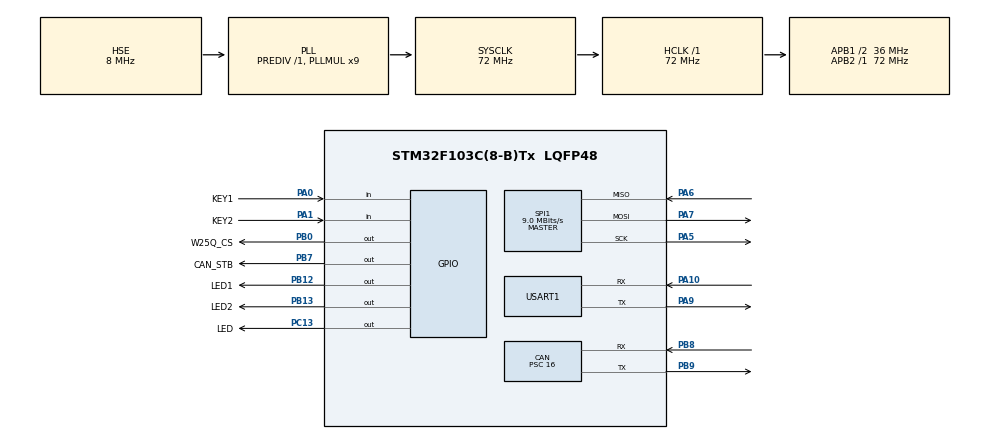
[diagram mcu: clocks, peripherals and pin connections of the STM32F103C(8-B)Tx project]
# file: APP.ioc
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CAN.ABOM=ENABLE
CAN.BS1=CAN_BS1_15TQ
CAN.BS2=CAN_BS2_2TQ
CAN.CalculateBaudRate=125000
CAN.CalculateTimeBit=8000
CAN.CalculateTimeQuantum=444.44444444444446
CAN.Mode=CAN_MODE_NORMAL
CAN.NART=ENABLE
CAN.Prescaler=16
CAN.RFLM=ENABLE
Dma.Request0=USART1_RX
Dma.USART1_RX.0.Direction=DMA_PERIPH_TO_MEMORY
Dma.USART1_RX.0.Instance=DMA1_Channel5
Dma.USART1_RX.0.MemDataAlignment=DMA_MDATAALIGN_BYTE
Dma.USART1_RX.0.MemInc=DMA_MINC_ENABLE
Dma.USART1_RX.0.Mode=DMA_CIRCULAR
Dma.USART1_RX.0.PeriphDataAlignment=DMA_PDATAALIGN_BYTE
Dma.USART1_RX.0.PeriphInc=DMA_PINC_DISABLE
Dma.USART1_RX.0.Priority=DMA_PRIORITY_LOW
Mcu.Family=STM32F1
Mcu.Name=STM32F103C(8-B)Tx
Mcu.Package=LQFP48
NVIC.CAN1_SCE_IRQn=true\:0\:0\:false\:false\:true\:true\:true\:true
NVIC.DMA1_Channel5_IRQn=true\:0\:0\:false\:false\:true\:false\:true\:true
NVIC.PriorityGroup=NVIC_PRIORITYGROUP_4
NVIC.USART1_IRQn=true\:0\:0\:false\:false\:true\:true\:true\:true
NVIC.USB_LP_CAN1_RX0_IRQn=true\:0\:0\:false\:false\:true\:true\:true\:true
PA0-WKUP.GPIO_Label=KEY1
PA0-WKUP.Signal=GPIO_Input
PA1.GPIO_Label=KEY2
PA1.Signal=GPIO_Input
PA10.Mode=Asynchronous
PA10.Signal=USART1_RX
PA13.Mode=Serial_Wire
PA13.Signal=SYS_JTMS-SWDIO
PA14.Mode=Serial_Wire
PA14.Signal=SYS_JTCK-SWCLK
PA5.Mode=Full_Duplex_Master
PA5.Signal=SPI1_SCK
PA6.Mode=Full_Duplex_Master
PA6.Signal=SPI1_MISO
PA7.Mode=Full_Duplex_Master
PA7.Signal=SPI1_MOSI
PA9.Mode=Asynchronous
PA9.Signal=USART1_TX
PB0.GPIO_Label=W25Q_CS
PB0.GPIO_PuPd=GPIO_PULLUP
PB0.GPIO_Speed=GPIO_SPEED_FREQ_HIGH
PB0.PinState=GPIO_PIN_SET
PB0.Signal=GPIO_Output
PB12.GPIO_Label=LED1
PB12.Signal=GPIO_Output
PB13.GPIO_Label=LED2
PB13.GPIO_ModeDefaultOutputPP=GPIO_MODE_OUTPUT_PP
PB13.GPIO_PuPd=GPIO_PULLUP
PB13.PinState=GPIO_PIN_SET
PB13.Signal=GPIO_Output
PB7.GPIO_Label=CAN_STB
PB7.GPIO_PuPd=GPIO_PULLUP
PB7.PinState=GPIO_PIN_RESET
PB7.Signal=GPIO_Output
PB8.Mode=CAN_Activate
PB8.Signal=CAN_RX
PB9.Mode=CAN_Activate
PB9.Signal=CAN_TX
PC13-TAMPER-RTC.GPIO_Label=LED
PC13-TAMPER-RTC.GPIO_PuPd=GPIO_PULLDOWN
PC13-TAMPER-RTC.PinState=GPIO_PIN_RESET
PC13-TAMPER-RTC.Signal=GPIO_Output
PD0-OSC_IN.Mode=HSE-External-Oscillator
PD0-OSC_IN.Signal=RCC_OSC_IN
PD1-OSC_OUT.Mode=HSE-External-Oscillator
PD1-OSC_OUT.Signal=RCC_OSC_OUT
ProjectManager.HeapSize=0x200
ProjectManager.StackSize=0x400
ProjectManager.TargetToolchain=CMake
RCC.AHBFreq_Value=72000000
RCC.APB1CLKDivider=RCC_HCLK_DIV2
RCC.APB1Freq_Value=36000000
RCC.APB1TimFreq_Value=72000000
RCC.APB2Freq_Value=72000000
RCC.APB2TimFreq_Value=72000000
RCC.HCLKFreq_Value=72000000
RCC.PLLMUL=RCC_PLL_MUL9
RCC.PLLSourceVirtual=RCC_PLLSOURCE_HSE
RCC.SYSCLKFreq_VALUE=72000000
RCC.SYSCLKSource=RCC_SYSCLKSOURCE_PLLCLK
RCC.USBFreq_Value=72000000
SPI1.BaudRatePrescaler=SPI_BAUDRATEPRESCALER_8
SPI1.CalculateBaudRate=9.0 MBits/s
SPI1.Direction=SPI_DIRECTION_2LINES
SPI1.Mode=SPI_MODE_MASTER
SPI1.VirtualType=VM_MASTER
USART1.VirtualMode=VM_ASYNC
board=custom

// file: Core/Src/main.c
/* USER CODE BEGIN Header */
/**
  ******************************************************************************
  * @file           : main.c
  * @brief          : Main program body
  ******************************************************************************
  * @attention
  *
  * Copyright (c) 2026 STMicroelectronics.
  * All rights reserved.
  *
  * This software is licensed under terms that can be found in the LICENSE file
  * in the root directory of this software component.
  * If no LICENSE file comes with this software, it is provided AS-IS.
  *
  ******************************************************************************
  */
/* USER CODE END Header */
#include "main.h"
#include "can.h"
#include "dma.h"
#include "spi.h"
#include "usart.h"
#include "gpio.h"

/* USER CODE BEGIN Includes */
#include "board.h"
#include "Boot_Loader.h"
#include "ota_flag.h"       /* 确认制：App 启动成功后擦更新标志 */
#include "ota_backup.h"     /* 回滚：确认前把当前固件备份到 W25Q 0x200000 */
#include "can_drv.h"        /* CAN：Normal 收 0x601 应答 / 发 0x581 查询；阶段 1+2 握手与分帧接收 */
#include "ota_w25q.h"       /* 阶段 2：CAN 分片直接喂 OtaW25q_Feed（不经过串口那条路径） */
#include "crc32.h"          /* 去重：Crc32_Flash 算片内当前固件 CRC，与 REPLY 的 CRC 比对 */
#include <string.h>         /* memcpy：把 DATA 帧载荷拼进块缓冲 */
/* USER CODE END Includes */

/* USER CODE BEGIN PD */

/* ==================== CAN OTA 会话层：阶段 1 查询握手 ====================
 * 为什么复用 0x581/0x601 而不是新增 ID：下位机主动发起，C8T6 发 -> 0x581（原本定义为
 * 下位机响应方向），上位机回 -> 0x601（原本定义为上位机请求方向）。两侧过滤器天然匹配
 * （C8T6 收 0x601、ZET6 收 0x581），一行驱动都不用改。can_drv.h 里 REQ/RSP 的注释语义
 * 因此反转，消息类型靠帧内 opcode 区分，后续步骤沿用这套约定扩展。
 *
 * 帧格式（8 字节满帧）：
 *   C8T6 -> 0x581  B0=0x10(QUERY) B1=版本 B2~B7=保留
 *   ZET6 -> 0x601  B0=0x11(REPLY) B1=有/无(1/0) B2B3=长度(uint16小端) B4~B7=CRC低32位
 *
 * 阶段 2 新增三个 opcode（帧内 B0）：
 *   0x12 UPDATE_REQ  C8T6->ZET6：B1=版本 B2B3=长度(uint16) B4~B7=CRC32(回显 REPLY 收到的值)
 *                   回显长度+CRC 是为了让上位机确认"下位机要的正是我这份"，避免槽 A 在
 *                   查询与请求之间被新传覆盖时发错版本。
 *   0x13 DATA        ZET6->C8T6：B1B2=seq(uint16小端) B3~B7=5 字节数据（满帧 8 字节）
 *   0x14 ACK         C8T6->ZET6：B1B2=已正确收到的最后 seq，B3=0 正常 / 非 0 请求重传
 *
 * 为什么每帧只装 5 字节：CAN 帧上限 8 字节，B0 给 opcode、B1B2 给 seq，
 *   剩下的 B3~B7 恰好 5 字节数据。分帧数 = ceil(len/5)，ACK 每块回一次。
 *
 * 块级 ACK 的时序意义（方案 §7）：ZET6 连发一块后停下等 ACK，C8T6 利用这段总线
 *   静默期完成 W25Q 扇区擦写（最坏 400ms）；擦完才回 ACK 放行下一块。
 *   所以 ZET6 等 ACK 超时必须 >= 400ms + 传输余量。 */
#define OTA_CAN_OP_QUERY     0x10U
#define OTA_CAN_OP_REPLY     0x11U
#define OTA_CAN_OP_UPDATE_REQ 0x12U
#define OTA_CAN_OP_DATA      0x13U
#define OTA_CAN_OP_ACK       0x14U
#define OTA_CAN_PROTO_VER    0x01U
#define OTA_CAN_QUERY_TIMEOUT_MS  100U   /* 等邮箱腾空/发完；对端不在线时避免阻塞主循环 */
#define OTA_KEY_DEBOUNCE_MS  50U         /* 按键防抖时间，滤掉机械抖动与长按时长差异 */

/* 分帧参数。5B/帧：21204B ≈ 4241 帧，125k 下约 3.8s（不含擦写空窗）。 */
#define OTA_CAN_DATA_BYTES   5U
#define OTA_CAN_BLOCK_FRAMES 16U         /* 每块 16 帧=80B，攒够一块再擦写+回 ACK */
#define OTA_CAN_RCV_TIMEOUT_MS 1500U     /* 接收态等下一帧的超时；>400ms 擦写 + 传输余量 */

/* 会话状态：IDLE(等按键) -> WAIT_REPLY(已发查询) -> RECEIVING(已发更新请求，收 bin) */
#define OTA_CAN_ST_IDLE      0U
#define OTA_CAN_ST_WAIT_REPLY 1U
#define OTA_CAN_ST_RECEIVING 2U

/* USER CODE END PD */

/* USER CODE BEGIN PV */

/* KEY1(PA0) 查询按键的边沿+防抖状态。PA0 是浮空输入、按下为低，
 * 用「电平变化重置计时 + 稳定 50ms 才确认」滤掉机械抖动；
 * s_key1_fired 保证按住不放只发一帧，松开后才允许下一次查询。 */
static uint8_t  s_key1_prev  = 1U;   /* 上一次电平，初值=高(未按下) */
static uint8_t  s_key1_fired = 0U;   /* 本次按下是否已发过查询帧 */
static uint32_t s_key1_t;

/* KEY2(PA1) 回滚按键的边沿+防抖状态，与 KEY1 同款。
 * 为什么不复用 KEY1 的变量：两个键各自独立，查询和回滚可能先后触发，
 * 共用一个 fired 锁会导致第二次按键被吞。 */
static uint8_t  s_key2_prev  = 1U;
static uint8_t  s_key2_fired = 0U;
static uint32_t s_key2_t;

/* ===== 阶段 2：CAN 接收会话状态 ===== */
static uint8_t  s_ota_st = OTA_CAN_ST_IDLE;   /* 当前会话状态 */
static uint32_t s_ota_len;                    /* REPLY 声明的固件长度（uint16 解析后） */
static uint32_t s_ota_crc;                    /* REPLY 声明的固件 CRC32 */
static uint16_t s_ota_expect_seq;             /* 期望收到的下一帧 seq */
static uint16_t s_ota_expect_frame;           /* 期望的总帧数 = ceil(len/5) */
static uint16_t s_ota_block_cnt;              /* 本块已收帧数，满 OTA_CAN_BLOCK_FRAMES 回一次 ACK */
static uint32_t s_ota_fed;                    /* 已 Feed 给 OtaW25q 的字节数（含扇区内未落盘的尾巴） */
static uint32_t s_ota_last_frame_ms;          /* 最近一帧到达时刻，收包超时用 */
static uint8_t  s_ota_write_err;              /* 落盘失败锁：出错后只重传、不再写 Flash */
/* 块缓冲：收满一块才一次性 Feed。为什么不能每帧直接 Feed：
 *   OtaW25q_Feed 攒满 4KB 会在调用内部擦扇区（最坏 400ms）。若每帧都调，擦写可能
 *   落在块的中间，此时 ZET6 还在连发后续帧，C8T6 卡在 SPI 上、8 级接收队列必溢出。
 *   攒成一块再 Feed，擦写就只发生在"收满一块、回 ACK 之前"——此时 ZET6 正停着等 ACK，
 *   总线天然静默，正是方案 §7 要的那个空窗。 */
static uint8_t  s_ota_block[OTA_CAN_BLOCK_FRAMES * OTA_CAN_DATA_BYTES];

/* USER CODE END PV */

void SystemClock_Config(void);

/* USER CODE BEGIN 0 */

/* App 区最大长度：0x08005000 ~ 0x08010000 = 44KB。REPLY 的长度是 uint16，
 * 可能超过这个上限；不去重直接拒收，避免 Crc32_Flash 读到 Flash 末尾之外。 */
#define OTA_CAN_APP_MAX   45056UL

/**
 * 回一块的 ACK。B1B2=已正确收到的最后 seq，B3=0 正常。
 * 为什么单独封装：ACK 在三个位置都要发（正常块满、收齐、出错重传），
 * 统一出口能保证帧格式一致，也方便以后加 ACK 的 CRC 保护。
 */
static void OtaCan_SendAck(uint16_t last_seq, uint8_t err)
{
	uint8_t ack[8];

	ack[0] = OTA_CAN_OP_ACK;
	ack[1] = (uint8_t)(last_seq & 0xFFU);
	ack[2] = (uint8_t)((last_seq >> 8) & 0xFFU);
	ack[3] = err;
	ack[4] = 0U; ack[5] = 0U; ack[6] = 0U; ack[7] = 0U;

	(void)CanDrv_Send(CANDRV_ID_RSP, ack, (uint8_t)sizeof(ack), OTA_CAN_QUERY_TIMEOUT_MS);
}

/**
 * 去重：槽 A 那份 bin 是否已经就是当前在跑的固件。
 * 判据 = REPLY 里的长度+CRC 与片内 App 区 [0x08005000, +len) 读回的 CRC 一致。
 * 这里用 Crc32_Flash 是对的（片内 XIP，直接解引用）；W25Q 那种 SPI 外挂才不能用。
 * 长度非法（0 或超 App 区）时返回 0 不拦，但外层会先拦掉非法长度。
 */
static uint8_t OtaCan_IsCurrentFw(uint32_t len, uint32_t crc)
{
	uint32_t now;

	if((len == 0U) || (len > OTA_CAN_APP_MAX))
	{
		return 0U;
	}
	now = Crc32_Flash(0x08005000UL, len);
	return (now == crc) ? 1U : 0U;
}

/* USER CODE END 0 */

int main(void)
{

  /* MCU Configuration--------------------------------------------------------*/

  /* Reset of all peripherals, Initializes the Flash interface and the Systick. */
  HAL_Init();

  /* Configure the system clock */
  SystemClock_Config();

  /* Initialize all configured peripherals */
  MX_GPIO_Init();
  MX_DMA_Init();
  MX_USART1_UART_Init();
  MX_CAN_Init();
  MX_SPI1_Init();
  /* USER CODE BEGIN 2 */
  Uart_Init();

	/* 本轮新增：APP 侧串口收 bin -> W25Q64(0x100000)。
	   必须在 Uart_Init() 之后（日志走 UART_LOG），且在 MX_SPI1_Init() 之后（绑定 SPI1）。
	   返回非 0 表示 W25Q64 初始化失败（多半是 ID 读不到 / 片选没生效），打日志但不停机，
	   后续 Feed 会因未初始化直接报错，便于从日志定位。 */
	{
		uint8_t st = Boot_Loader_Init();

		Uart_Printf(UART_LOG, "[app] w25q init %s\r\n", (st == 0U) ? "OK" : "FAIL");
	}

	/* 【阶段 1b】CAN 改为 Normal 真实接收（2026-11-25 改动）
	   背景：上位机 ZET6 已接入总线，每 1s 发一帧 0x601（8 字节测试帧），本侧要从引脚收。
	   为什么必须退出回环：F103 的 Loopback 模式把 TX 在内部环回给 RX，同时**断开 RX 引脚**，
	   所以回环状态下无论对端怎么发都收不到 —— 这不是过滤器或中断的问题。
	   真正要同时满足的是两道闸：
	     1) .ioc 的 CAN.Mode = NORMAL（已改）
	     2) CAN_STB(PB7) 拉低（gpio.c 已改；置高时收发器 Standby，RX 不出信号）
	   参数仍由 CubeMX 生成，CanDrv_Init() 只做「读回校验 + 配过滤器 + Start + 激活中断」。
	   错误码：-2 状态不对 / -6 位时序不符预期 / -7 CAN1 RX0 中断未使能。
	   回环分支与自测保留：把 .ioc 改回 LOOPBACK 时仍能跑 1a 那套验收。 */
	{
		int8_t cr = CanDrv_Init();

		if (cr == CANDRV_OK)
		{
			Uart_Printf(UART_LOG, "[can] init OK, %lu bps, sample %u.%u%%, %s\r\n",
						(unsigned long)CanDrv_ActualBaudrate(),
						(unsigned int)(CanDrv_ActualSamplePointPermille() / 10U),
						(unsigned int)(CanDrv_ActualSamplePointPermille() % 10U),
						(CanDrv_GetMode() == CANDRV_MODE_LOOPBACK) ? "loopback" : "normal");

			if (CanDrv_GetMode() == CANDRV_MODE_LOOPBACK)
			{
				int8_t sr = CanDrv_SelfTest();

				Uart_Printf(UART_LOG, "[can] loopback self-test %s (tx=%lu ovf=%lu err=%lu bof=%lu)\r\n",
							(sr == CANDRV_OK) ? "PASS" : "FAIL",
							(unsigned long)CanDrv_TxOkCount(),
							(unsigned long)CanDrv_RxOverflowCount(),
							(unsigned long)CanDrv_ErrorCount(),
							(unsigned long)CanDrv_BusOffCount());
			}
			else
			{
				/* Normal 模式没有对端时硬测只会得到误导性的 FAIL，所以不跑自测；
				   改为在主循环里轮询接收队列并打印（见 while 中那段）。
				   本侧过滤器只放行 0x601 —— 也就是上位机的请求帧。
				   2026-11-25 21:2x：Mode 已回到 NORMAL，但这里保留按 SILM 位动态取名的写法
				   （CanDrv_GetMode() 只看 LBKM 位，区分不了 SILENT/NORMAL），
				   这样以后再做单侧 SILENT 判别时，串口能一眼看出烧的是哪一版。 */
				Uart_Printf(UART_LOG, "[can] %s mode: 接收就绪，等待上位机 0x%03X\r\n",
							((hcan.Init.Mode & CAN_BTR_SILM) != 0U) ? "silent" : "normal",
							(unsigned int)CANDRV_ID_REQ);
			}
		}
		else
		{
			Uart_Printf(UART_LOG, "[can] init FAIL code=%d\r\n", (int)cr);
		}
	}

	/* 【确认 + 备份】App 初始化全部完成后：
	   1) 若标志是 APPLIED（说明我是刚装上的新固件、还没确认过）：
	      先把当前片内固件（就是我自己，此刻已证明能跑起来）备份到 W25Q 0x200000，
	      供下次升级失败时回滚；再擦标志表示确认。
	   2) 若标志是其它状态或空：只做原有逻辑，不重复备份。
	   放这里（不是 main 第一行）：时钟/串口/W25Q 都起来才算"真的活过来了"，
	   更早 HardFault 的固件不会备份也不会擦标志，Boot 会按 APPLIED 走回滚。

	   APP 起始地址常量 0x08005000 与 Boot 侧 flash_app.h 的 APP_ADDR 一致；
	   两个工程独立，不 include 对方头文件。 */
	{
		OtaUpdateFlag_t flag;

		if ((OtaFlag_Read(&flag) == OTA_FLAG_OK) && (flag.state == OTA_FLAG_APPLIED))
		{
			/* 备份当前固件：长度用标志里的（Boot 搬运时写的就是这份固件的长度） */
			int8_t br = OtaBackup_SaveFromFlash(0x08005000UL, flag.length);

			Uart_Printf(UART_LOG, "[app] backup current fw %s (%luB)\r\n",
						(br == OTA_BAK_OK) ? "OK" : "FAIL (no rollback next time)",
						(unsigned long)flag.length);
		}

		/* 确认：擦标志（无论上面备份成功与否，当前固件已经跑起来了） */
		if (OtaFlag_Read(&flag) == OTA_FLAG_OK)
		{
			int8_t r = OtaFlag_Erase();

			Uart_Printf(UART_LOG, "[app] update confirmed, flag %s\r\n",
						(r == OTA_FLAG_OK) ? "erased" : "erase FAIL (will reapply)");
		}
	}

	uint16_t len = 0;
	uint32_t sum = 0;
	static uint32_t s_led_t;		/* LED 闪烁基准，非阻塞 */
  /* USER CODE END 2 */

  /* Infinite loop */
  while (1)
  {

    /* USER CODE BEGIN 3 */
		/* 关键：LED 用非阻塞定时，不能用 HAL_Delay(500)。
		   HAL_Delay 会让主循环 1 秒才取一次串口数据，而 1KB 环缓冲在 115200 下
		   约 87ms 就被灌满 —— 必溢出丢字节，bin 写进 W25Q 就是残缺的。 */
		if (Timer_Expired(&s_led_t, 500U))
		{
			Led_Fan_Toggle();
			// Led_Fan(1);
		}

		/* ---------- 串口喂数（阶段 2 起受会话状态控制） ----------
		   2026-11-26 用户确认：进入 CAN 接收态后只屏蔽"串口->W25Q 喂数"这一条路径，
		   日志 TX（Uart_Printf）照常，方便观察下载过程。
		   为什么必须屏蔽：串口和 CAN 若同时喂 OtaW25q，两个数据源会交错写进同一个
		   固件区，校验必然失败、且很难判断是哪路写坏了。
		   IDLE/WAIT_REPLY 态照常收串口；RECEIVING 态停喂，直到收齐或失败回到 IDLE。 */
		if(s_ota_st == OTA_CAN_ST_RECEIVING)
		{
			len = 0U;                 /* 不调用 Boot_Loader_Getlen()，串口字节留在环缓冲里不消费 */
		}
		else
		{
			len = Boot_Loader_Getlen();
		}
		sum += len;
		if (len > 0)
		{
			Uart_Printf(UART_LOG, "receive: %d  sum: %lu\r\n", len, sum);
		}

		/* ---------- KEY1：按键查询"上位机有没有新程序"（阶段 1） ----------
		   PA0 浮空输入，按下为低。为什么要防抖+边沿锁存而不是直接读电平：
		   1) 机械按键抖动会在几毫秒内反复跳变，不滤会发出一串查询帧；
		   2) 按住不放时电平持续为低，靠 s_key1_fired 保证只发一帧，松开才能再次触发。
		   发帧走 0x581（下位机->上位机方向），100ms 超时：正常一帧约 0.9ms，
		   超时只可能是对端掉线/没 ACK，此时打 FAIL 而不阻塞主循环。 */
		{
			uint8_t key1_now = (HAL_GPIO_ReadPin(KEY1_GPIO_Port, KEY1_Pin) == GPIO_PIN_RESET) ? 0U : 1U;

			if(key1_now != s_key1_prev)
			{
				s_key1_prev = key1_now;
				s_key1_fired = 0U;              /* 电平变化：重新计防抖，允许新的一次按下 */
				Timer_Reset(&s_key1_t);
			}
			else if((key1_now == 0U) && (s_key1_fired == 0U) &&
					(s_ota_st == OTA_CAN_ST_IDLE) &&    /* 下载中不接受新查询，防止状态机被打断 */
					(Timer_Timeout(&s_key1_t, OTA_KEY_DEBOUNCE_MS) != 0U))
			{
				uint8_t q[8];
				int8_t  sr;

				q[0] = OTA_CAN_OP_QUERY;
				q[1] = OTA_CAN_PROTO_VER;
				q[2] = 0U; q[3] = 0U; q[4] = 0U; q[5] = 0U; q[6] = 0U; q[7] = 0U;

				sr = CanDrv_Send(CANDRV_ID_RSP, q, (uint8_t)sizeof(q), OTA_CAN_QUERY_TIMEOUT_MS);
				s_key1_fired = 1U;

				/* 只有真的发出去才推进状态；发送 FAIL 时留在 IDLE，按键松开后可重试 */
				if(sr == CANDRV_OK)
				{
					s_ota_st = OTA_CAN_ST_WAIT_REPLY;
				}

				Uart_Printf(UART_LOG, "[can] query %s (id=0x%03lX)\r\n",
							(sr == CANDRV_OK) ? "sent" : "FAIL",
							(unsigned long)CANDRV_ID_RSP);
			}
		}

		/* ---------- KEY2(PA1)：人工回滚到备份固件 ----------
		   PA1 浮空输入，按下为低。为什么写标志而不在 App 里直接搬：
		   F103 单 bank，App 正在 0x08005000 取指时擦写同一 bank 必 HardFault。
		   复用 Boot 已实机验证的回滚链路 —— 这里把标志写成 APPLIED 再复位，
		   Boot 读到 APPLIED 就从 0x201000 备份区恢复、校验、擦标志、跳 App。

		   写标志前先校验备份头+数据 CRC：备份坏就不写、不复位。否则 Boot 回滚失败
		   停在 OTA 等串口，用户还以为按键没生效；fail-safe 优先于"一定回滚"。

		   ⚠ 语义：备份区存的是"最近一次确认过的固件"（App 启动时备份当时的片内）。
		   若刚升级完就按键2，备份区=当前这份新固件，回滚是把同一份重搬一遍 ——
		   它验证回滚链路通不通，不是退回更早版本。要退更早版本得改备份时机。 */
		{
			uint8_t key2_now = (HAL_GPIO_ReadPin(KEY2_GPIO_Port, KEY2_Pin) == GPIO_PIN_RESET) ? 0U : 1U;

			if(key2_now != s_key2_prev)
			{
				s_key2_prev = key2_now;
				s_key2_fired = 0U;
				Timer_Reset(&s_key2_t);
			}
			else if((key2_now == 0U) && (s_key2_fired == 0U) &&
					(s_ota_st == OTA_CAN_ST_IDLE) &&    /* 下载中不接受回滚，避免两路抢 W25Q */
					(Timer_Timeout(&s_key2_t, OTA_KEY_DEBOUNCE_MS) != 0U))
			{
				OtaBackupHeader_t hdr;
				int8_t hs = OtaBackup_ReadHeader(&hdr);

				s_key2_fired = 1U;   /* 无论备份好坏都锁存，按住不放不重复触发 */

				if(hs != OTA_BAK_OK)
				{
					Uart_Printf(UART_LOG, "[app] KEY2 rollback: no valid backup (%d), ignored\r\n", (int)hs);
				}
				else if(OtaBackup_VerifyData(&hdr) != 1)
				{
					Uart_Printf(UART_LOG, "[app] KEY2 rollback: backup CRC BAD, ignored\r\n");
				}
				else
				{
					/* length/crc 填备份头的：Boot 的 ApplyRollback 只用备份头自己的值，
					   这里填对是为了让标志自检自洽，日志也能对上备份固件。 */
					int8_t ws = OtaFlag_Write(hdr.length, hdr.crc32, OTA_FLAG_APPLIED);

					Uart_Printf(UART_LOG, "[app] KEY2 rollback: flag APPLIED %s, reset...\r\n",
								(ws == OTA_FLAG_OK) ? "OK" : "FAIL");
					if(ws == OTA_FLAG_OK)
					{
						HAL_NVIC_SystemReset();   /* 不返回：Boot 接管回滚 */
					}
				}
			}
		}

		/* ---------- CAN 接收状态机（阶段 2） ----------
		   过滤器只放行 0x601（上位机方向），每圈取干净：队列深度只有 8。
		   三条分支对应会话三态：
		     REPLY   (WAIT_REPLY)  -> 去重 -> 发 UPDATE_REQ -> 进 RECEIVING
		     DATA    (RECEIVING)   -> 攒块 -> 满块写 W25Q -> 回 ACK -> 收齐 Finish
		     ACK/其它               -> 忽略（本侧不收 ACK）
		   注意：所有写 Flash 都集中在 DATA 分支，且只在"回 ACK 之前"做完，
		   这样 ZET6 永远是在 C8T6 空闲时才被放行下一块。 */
		{
			can_drv_frame_t f;

			while (CanDrv_RxPop(&f) == CANDRV_OK)
			{
				/* REPLY：B1=有/无，B2B3=长度，B4~B7=CRC。只有发出过查询才接受，
				   否则滞留的旧 REPLY 会把空闲中的板子拽进下载态。 */
				if((f.id == CANDRV_ID_REQ) && (f.dlc == 8U) &&
				   (f.data[0] == OTA_CAN_OP_REPLY) && (s_ota_st == OTA_CAN_ST_WAIT_REPLY))
				{
					uint32_t len = (uint32_t)f.data[2] | ((uint32_t)f.data[3] << 8);
					uint32_t crc = (uint32_t)f.data[4] | ((uint32_t)f.data[5] << 8) |
								   ((uint32_t)f.data[6] << 16) | ((uint32_t)f.data[7] << 24);
					uint8_t  req[8];
					int8_t   sr;

					Uart_Printf(UART_LOG, "[can] reply %s len=%luB crc=0x%08lX\r\n",
								(f.data[1] != 0U) ? "YES" : "NO",
								(unsigned long)len, (unsigned long)crc);

					s_ota_st = OTA_CAN_ST_IDLE;   /* 无论 YES/NO，先离开 WAIT_REPLY */

					if(f.data[1] == 0U)
					{
						continue;    /* 上位机说没有：保持 IDLE */
					}
					/* 长度闸门：0 或超出 App 区都不接收，防止 CRC 越界读/写爆 W25Q */
					if((len == 0U) || (len > OTA_CAN_APP_MAX))
					{
						Uart_Printf(UART_LOG, "[ota] reply 长度非法 %luB，忽略\r\n", (unsigned long)len);
						continue;
					}
					/* 去重：槽里这份若就是当前在跑的固件，不必下载 */
					if(OtaCan_IsCurrentFw(len, crc) != 0U)
					{
						Uart_Printf(UART_LOG, "[ota] 已是当前固件，跳过下载\r\n");
						continue;
					}

					/* 回显长度+CRC 请求更新，让上位机确认发的是它报过的那份 */
					req[0] = OTA_CAN_OP_UPDATE_REQ;
					req[1] = OTA_CAN_PROTO_VER;
					req[2] = (uint8_t)(len & 0xFFU);
					req[3] = (uint8_t)((len >> 8) & 0xFFU);
					req[4] = (uint8_t)(crc & 0xFFU);
					req[5] = (uint8_t)((crc >> 8) & 0xFFU);
					req[6] = (uint8_t)((crc >> 16) & 0xFFU);
					req[7] = (uint8_t)((crc >> 24) & 0xFFU);
					sr = CanDrv_Send(CANDRV_ID_RSP, req, (uint8_t)sizeof(req), OTA_CAN_QUERY_TIMEOUT_MS);
					if(sr != CANDRV_OK)
					{
						Uart_Printf(UART_LOG, "[ota] UPDATE_REQ 发送 FAIL=%d\r\n", (int)sr);
						continue;
					}

					/* 干净交接：重置 OtaW25q 的写入起点与计数，丢弃串口路径残留状态。
					   注意 Boot_Loader_Init 内部调 OtaW25q_Init，会把 s_total/s_fill 清零。 */
					(void)Boot_Loader_Init();

					s_ota_len         = len;
					s_ota_crc         = crc;
					s_ota_expect_seq  = 0U;
					s_ota_expect_frame = (uint16_t)((len + (uint32_t)OTA_CAN_DATA_BYTES - 1U) /
													  (uint32_t)OTA_CAN_DATA_BYTES);
					s_ota_block_cnt   = 0U;
					s_ota_fed         = 0U;
					s_ota_last_frame_ms = Board_Millis();
					s_ota_write_err   = OTAW_OK;
					s_ota_st          = OTA_CAN_ST_RECEIVING;

					Uart_Printf(UART_LOG, "[ota] 开始 CAN 接收 %luB / %u 帧\r\n",
								(unsigned long)len, (unsigned int)s_ota_expect_frame);
				}
				/* DATA：B1B2=seq，B3~B7=5 字节数据。只在 RECEIVING 态处理。 */
				else if((f.id == CANDRV_ID_REQ) && (f.dlc == 8U) &&
						(f.data[0] == OTA_CAN_OP_DATA) && (s_ota_st == OTA_CAN_ST_RECEIVING))
				{
					uint16_t seq = (uint16_t)((uint16_t)f.data[1] | ((uint16_t)f.data[2] << 8));
					uint32_t off = (uint32_t)s_ota_block_cnt * OTA_CAN_DATA_BYTES;
					uint8_t  i;

					s_ota_last_frame_ms = Board_Millis();

					/* seq 不连续 = 丢帧。回一个带 err 的 ACK 让上位机立即停，别等超时。
					   C8T6 不实现重传（当前流程靠上位机重跑一轮），只保证不把错数据写进 Flash。 */
					if(seq != s_ota_expect_seq)
					{
						Uart_Printf(UART_LOG, "[ota] seq 错：期望 %u 收到 %u，放弃\r\n",
									(unsigned int)s_ota_expect_seq, (unsigned int)seq);
						OtaCan_SendAck(s_ota_expect_seq, 1U);
						s_ota_st = OTA_CAN_ST_IDLE;
						continue;
					}
					/* 防御：块缓冲固定 16*5=80B，块满必须已回 ACK 并清零，不该越界 */
					if((off + OTA_CAN_DATA_BYTES) > sizeof(s_ota_block))
					{
						Uart_Printf(UART_LOG, "[ota] 块缓冲越界，放弃\r\n");
						OtaCan_SendAck(s_ota_expect_seq, 1U);
						s_ota_st = OTA_CAN_ST_IDLE;
						continue;
					}
					for(i = 0U; i < OTA_CAN_DATA_BYTES; i++)
					{
						s_ota_block[off + i] = f.data[3U + i];
					}
					s_ota_expect_seq++;
					s_ota_block_cnt++;

					/* 收齐与块满互斥处理：收齐优先。
					   为什么必须互斥：最后一帧可能同时让 block_cnt 达到 16 且 expect_seq 达到总数，
					   若两个分支各回一次 ACK，上位机会把第二个误当成"下一块已确认"。
					   收齐时 ACK 放在 Finish 之后发，它才真正代表"落盘+校验+写标志全成功"。 */
					if(s_ota_expect_seq >= s_ota_expect_frame)
					{
						int8_t fr;

						/* 把最后不足一块的尾巴 Feed 掉，按声明长度裁掉末帧填充字节。
						   ⚠ remain 必须用 s_ota_fed（已 Feed 字节数）算，不能用 OtaW25q_Total()：
						   后者只统计已落盘的整扇区，扇区里攒着的尾巴不算，用它算会多算出
						   几百字节，导致末帧的补 0 字节被当真数据写进固件、CRC 对不上。 */
						if(s_ota_block_cnt > 0U)
						{
							uint32_t fed = (uint32_t)s_ota_block_cnt * OTA_CAN_DATA_BYTES;
							uint32_t remain = s_ota_len - s_ota_fed;

							if(remain < fed)
							{
								fed = remain;
							}
							if((fed > 0U) && (OtaW25q_Feed(s_ota_block, fed) != OTAW_OK))
							{
								Uart_Printf(UART_LOG, "[ota] 尾块写入 FAIL，放弃\r\n");
								OtaCan_SendAck((uint16_t)(s_ota_expect_seq - 1U), 1U);
								s_ota_st = OTA_CAN_ST_IDLE;
								continue;
							}
							s_ota_fed += fed;
						}
						/* Finish：补尾扇区 + 逐字节回读比对 + 算 CRC + 写 PENDING 标志。
						   这一步之后 Boot 复位就能搬运，全程不需要额外写标志的代码。 */
						fr = Boot_Loader_Finish();
						/* ACK 的 seq = 最后一帧的序号 = expect_seq-1。上位机按这个值校验，
						   若错填 expect_seq（帧数），它会判成"上一块的迟到 ACK"而中止。 */
						OtaCan_SendAck((uint16_t)(s_ota_expect_seq - 1U), (fr == 0U) ? 0U : 1U);
						Uart_Printf(UART_LOG, "[ota] 收齐 %u 帧，Finish=%d，total=%luB\r\n",
									(unsigned int)s_ota_expect_seq, (int)fr,
									(unsigned long)OtaW25q_Total());
						s_ota_block_cnt = 0U;
						s_ota_st = OTA_CAN_ST_IDLE;
					}
					else if(s_ota_block_cnt >= OTA_CAN_BLOCK_FRAMES)
					{
						/* 收满一块 -> 一次性 Feed（擦写发生在这里，此刻上位机在等 ACK）-> 回 ACK */
						int8_t wr = OtaW25q_Feed(s_ota_block, (uint32_t)s_ota_block_cnt * OTA_CAN_DATA_BYTES);

						if(wr != OTAW_OK)
						{
							s_ota_write_err = (uint8_t)wr;
							Uart_Printf(UART_LOG, "[ota] W25Q 写入 FAIL=%d，放弃\r\n", (int)wr);
							OtaCan_SendAck(s_ota_expect_seq, 1U);
							s_ota_st = OTA_CAN_ST_IDLE;
							continue;
						}
						s_ota_fed += (uint32_t)s_ota_block_cnt * OTA_CAN_DATA_BYTES;
						OtaCan_SendAck((uint16_t)(s_ota_expect_seq - 1U), 0U);
						s_ota_block_cnt = 0U;
					}
				}
			}
		}

		/* RECEIVING 态收包超时：上位机中途掉线/停发时，别让会话永远挂着占住串口屏蔽 */
		if((s_ota_st == OTA_CAN_ST_RECEIVING) &&
		   (Timer_Timeout(&s_ota_last_frame_ms, OTA_CAN_RCV_TIMEOUT_MS) != 0U))
		{
			Uart_Printf(UART_LOG, "[ota] 接收超时，got=%u/%u 帧，放弃\r\n",
						(unsigned int)s_ota_expect_seq, (unsigned int)s_ota_expect_frame);
			s_ota_st = OTA_CAN_ST_IDLE;
		}
  }
  /* USER CODE END 3 */
}

void SystemClock_Config(void)
{
  RCC_OscInitTypeDef RCC_OscInitStruct = {0};
  RCC_ClkInitTypeDef RCC_ClkInitStruct = {0};

  /** Initializes the RCC Oscillators according to the specified parameters
  * in the RCC_OscInitTypeDef structure.
  */
  RCC_OscInitStruct.OscillatorType = RCC_OSCILLATORTYPE_HSE;
  RCC_OscInitStruct.HSEState = RCC_HSE_ON;
  RCC_OscInitStruct.HSEPredivValue = RCC_HSE_PREDIV_DIV1;
  RCC_OscInitStruct.HSIState = RCC_HSI_ON;
  RCC_OscInitStruct.PLL.PLLState = RCC_PLL_ON;
  RCC_OscInitStruct.PLL.PLLSource = RCC_PLLSOURCE_HSE;
  RCC_OscInitStruct.PLL.PLLMUL = RCC_PLL_MUL9;
  if (HAL_RCC_OscConfig(&RCC_OscInitStruct) != HAL_OK)
  {
    Error_Handler();
  }

  /** Initializes the CPU, AHB and APB buses clocks
  */
  RCC_ClkInitStruct.ClockType = RCC_CLOCKTYPE_HCLK|RCC_CLOCKTYPE_SYSCLK
                              |RCC_CLOCKTYPE_PCLK1|RCC_CLOCKTYPE_PCLK2;
  RCC_ClkInitStruct.SYSCLKSource = RCC_SYSCLKSOURCE_PLLCLK;
  RCC_ClkInitStruct.AHBCLKDivider = RCC_SYSCLK_DIV1;
  RCC_ClkInitStruct.APB1CLKDivider = RCC_HCLK_DIV2;
  RCC_ClkInitStruct.APB2CLKDivider = RCC_HCLK_DIV1;

  if (HAL_RCC_ClockConfig(&RCC_ClkInitStruct, FLASH_LATENCY_2) != HAL_OK)
  {
    Error_Handler();
  }
}

void Error_Handler(void)
{
  __disable_irq();
  while (1)
  {
  }
}
